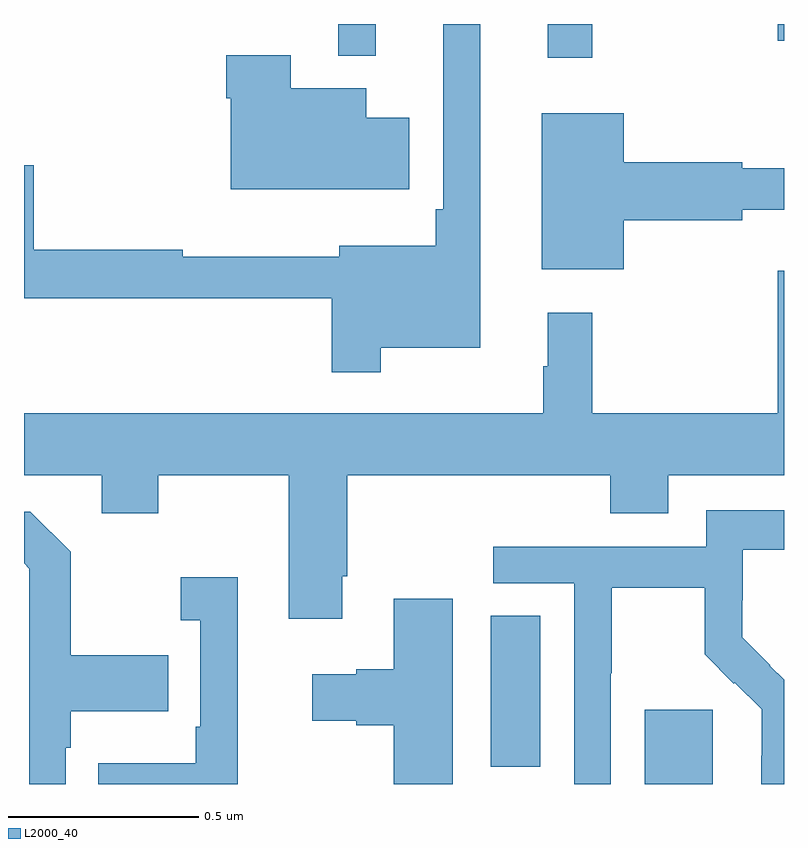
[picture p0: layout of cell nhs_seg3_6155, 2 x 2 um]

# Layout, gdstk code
import gdstk
lib = gdstk.Library(unit=1e-6, precision=1e-09)
def R(c, l, rs):  # rectangles x0, y0, x1, y1
    for r in rs: c.add(gdstk.rectangle(r[:2], r[2:], *l))
def P(c, l, *ps):  # polygons
    for p in ps: c.add(gdstk.Polygon(p, *l))
L2000_40 = (2000, 40)

nhs_seg3_6155 = lib.new_cell('nhs_seg3_6155')
R(nhs_seg3_6155, L2000_40, [(188.633,737.4,188.812,737.595), (188.228,737.446,188.359,737.843), (188.378,739.311,188.495,739.4), (187.827,739.316,187.925,739.4), (188.984,739.356,189,739.4)])
P(nhs_seg3_6155, L2000_40, [(187.939,738.548),(188.2,738.548),(188.2,739.4),(188.103,739.4),(188.103,738.913),(188.083,738.913),(188.083,738.817),(187.829,738.817),(187.829,738.787),(187.418,738.787),(187.418,738.806),(187.025,738.806),(187.025,739.028),(187,739.028),(187,738.678),(187.81,738.678),(187.81,738.483),(187.939,738.483)],
  [(188.014,739.153),(187.9,739.153),(187.9,739.231),(187.702,739.231),(187.702,739.318),(187.532,739.318),(187.532,739.205),(187.544,739.205),(187.544,738.965),(188.014,738.965)],
  [(188.578,738.884),(188.89,738.884),(188.89,738.911),(189,738.911),(189,739.021),(188.89,739.021),(188.89,739.036),(188.578,739.036),(188.578,739.165),(188.363,739.165),(188.363,738.755),(188.578,738.755)],
  [(187.837,737.947),(187.85,737.947),(187.85,738.212),(188.543,738.212),(188.543,738.113),(188.695,738.113),(188.695,738.212),(189,738.212),(189,738.751),(188.984,738.751),(188.984,738.376),(188.495,738.376),(188.495,738.64),(188.378,738.64),(188.378,738.5),(188.367,738.5),(188.367,738.376),(187,738.376),(187,738.212),(187.205,738.212),(187.205,738.113),(187.353,738.113),(187.353,738.212),(187.697,738.212),(187.697,737.835),(187.837,737.835)],
  [(188.544,737.692),(188.547,737.692),(188.547,737.916),(188.791,737.916),(188.791,737.741),(188.868,737.664),(188.871,737.667),(188.942,737.597),(188.942,737.474),(188.94,737.474),(188.94,737.4),(189,737.4),(189,737.674),(188.963,737.711),(188.964,737.712),(188.89,737.786),(188.89,737.883),(188.892,737.883),(188.892,738.017),(189,738.017),(189,738.121),(188.796,738.121),(188.796,738.024),(188.235,738.024),(188.235,737.928),(188.448,737.928),(188.448,737.4),(188.544,737.4)],
  [(187.11,737.495),(187.123,737.495),(187.123,737.591),(187.379,737.591),(187.379,737.739),(187.123,737.739),(187.123,738.011),(187.017,738.117),(187,738.117),(187,737.981),(187.014,737.967),(187.014,737.4),(187.11,737.4)],
  [(187.562,737.944),(187.413,737.944),(187.413,737.831),(187.464,737.831),(187.464,737.551),(187.452,737.551),(187.452,737.455),(187.195,737.455),(187.195,737.4),(187.562,737.4)],
  [(188.128,737.887),(187.973,737.887),(187.973,737.702),(187.874,737.702),(187.874,737.689),(187.758,737.689),(187.758,737.567),(187.874,737.567),(187.874,737.555),(187.973,737.555),(187.973,737.4),(188.128,737.4)])

lib.write_gds('nhs_seg3_6155.gds')
